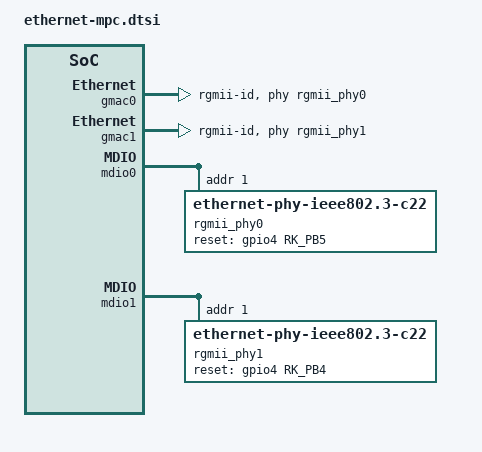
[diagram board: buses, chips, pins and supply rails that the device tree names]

&gmac0 {
	assigned-clocks = <&cru SCLK_GMAC0_RX_TX>, <&cru SCLK_GMAC0>;
	assigned-clock-parents = <&cru SCLK_GMAC0_RGMII_SPEED>;
	assigned-clock-rates = <0>, <125000000>;
	clock_in_out = "output";
	phy-handle = <&rgmii_phy0>;
	phy-mode = "rgmii-id";
	pinctrl-names = "default";
	pinctrl-0 = <&gmac0_miim
		     &gmac0_tx_bus2
		     &gmac0_rx_bus2
		     &gmac0_rgmii_clk
		     &gmac0_rgmii_bus>;

    tx_delay = <0x3c>;
	rx_delay = <0x2f>;   

	status = "okay";
};

&gmac1 {
	assigned-clocks = <&cru SCLK_GMAC1_RX_TX>, <&cru SCLK_GMAC1>;
	assigned-clock-parents = <&cru SCLK_GMAC1_RGMII_SPEED>;
	assigned-clock-rates = <0>, <125000000>;
	clock_in_out = "output";
	phy-handle = <&rgmii_phy1>;
	phy-mode = "rgmii-id";
	pinctrl-names = "default";
	pinctrl-0 = <&gmac1m0_miim
		     &gmac1m0_tx_bus2
		     &gmac1m0_rx_bus2
		     &gmac1m0_rgmii_clk
		     &gmac1m0_rgmii_bus>;
    
	tx_delay = <0x4f>;
	rx_delay = <0x26>;
	
	status = "okay";
};

&mdio0 {
	rgmii_phy0: ethernet-phy@1 {
		compatible = "ethernet-phy-ieee802.3-c22";
		reg = <0x1>;
		reset-assert-us = <20000>;
		reset-deassert-us = <100000>;
/*
        RGMII0_RST -> VT5(NMOS) -> RGMII0_RST_
        0 -> 1
        1 -> 0
*/
        reset-gpios = <&gpio4 RK_PB5 GPIO_ACTIVE_HIGH>;
	};
};

&mdio1 {
	rgmii_phy1: ethernet-phy@1 {
		compatible = "ethernet-phy-ieee802.3-c22";
		reg = <0x1>;
		reset-assert-us = <20000>;
		reset-deassert-us = <100000>;
/*
        RGMII1_RST -> VT7(NMOS) -> RGMII1_RST_
        0 -> 1
        1 -> 0
*/
		reset-gpios = <&gpio4 RK_PB4 GPIO_ACTIVE_HIGH>;
	};
};

&pinctrl {
	rgmii_phy0_reset {
		rgmii_phy0_reset_pin: rgmii-phy0-reset-pin {
/*
            RGMII0_RST -> VT5 (NMOS) -> RGMII0_RST_
            0 -> 1
            1 -> 0
*/			
			rockchip,pins = <4 RK_PB5 RK_FUNC_GPIO &pcfg_pull_none>;
		};
	};
    
    rgmii_phy1_reset {
		rgmii_phy1_reset_pin: rgmii-phy1-reset-pin {
/*
            RGMII1_RST -> VT7 (NMOS) -> RGMII1_RST_
            0 -> 1
            1 -> 0
*/			
			rockchip,pins = <4 RK_PB4 RK_FUNC_GPIO &pcfg_pull_none>;
		};
	};
};
